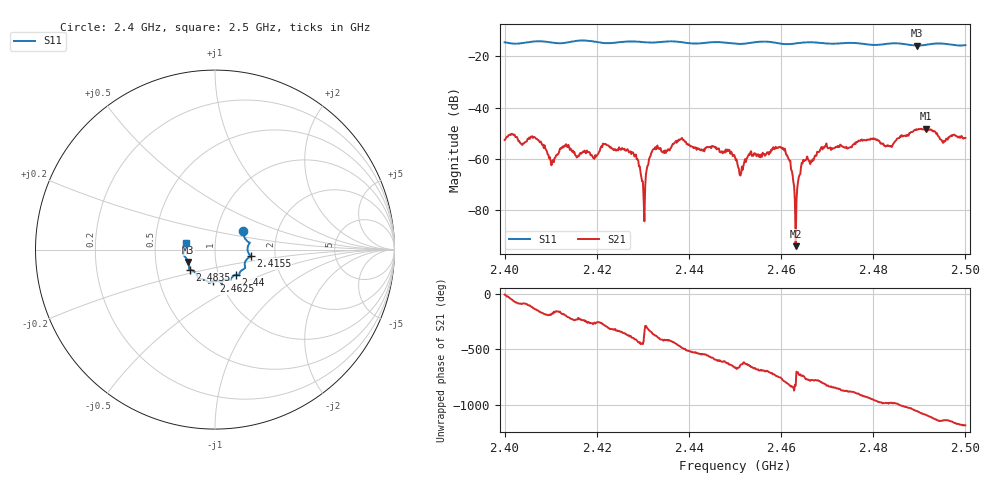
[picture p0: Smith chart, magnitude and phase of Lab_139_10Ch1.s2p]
# Hz S RI R 50
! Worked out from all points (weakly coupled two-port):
!   601 points, 2.4 GHz to 2.5 GHz, reference 50 ohm
!   highest |S21| = -48.23 dB at 2.4915 GHz (marker M1); lowest = -94.1 dB at 2.4632 GHz (marker M2)
!   lowest |S11| = -15.7 dB at 2.4895 GHz (marker M3), VSWR 1.39, Z = 36.8 - j5.16 ohm
!   |S11| at or under -10 dB: start of sweep to end of sweep
!   S12 and S22 are empty: the file has one direction only
!   S11 on the Smith chart (normalised r, x): 2.4 GHz: 1.33, +0.29; 2.4155 GHz: 1.49, -0.11; 2.44 GHz: 1.21, -0.35; 2.4625 GHz: 0.92, -0.34; 2.4835 GHz: 0.74, -0.17; 2.5 GHz: 0.72, +0.05
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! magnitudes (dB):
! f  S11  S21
! 2.4 GHz  -14.5  -52.6
! 2.4102 GHz  -14.6  -62.5
! 2.4155 GHz  -13.9  -58.8
! 2.4167 GHz  -13.8  -58.0
! 2.4272 GHz  -14.1  -57.4
! 2.4302 GHz  -14.4  -75.4
! 2.4318 GHz  -14.6  -57.7
! 2.4333 GHz  -14.4  -56.1
! 2.44 GHz  -14.8  -54.4
! 2.45 GHz  -15.0  -59.4
! 2.4512 GHz  -15.1  -66.6
! 2.46 GHz  -15.0  -55.7
! 2.4625 GHz  -15.0  -66.3
! 2.4632 GHz  -14.9  -94.1
! 2.4648 GHz  -14.6  -60.4
! 2.4667 GHz  -14.4  -61.1
! 2.4693 GHz  -14.8  -55.8
! 2.4833 GHz  -15.0  -55.0
! 2.4835 GHz  -15.0  -55.0
! 2.4895 GHz  -15.7  -48.6
! 2.4915 GHz  -15.4  -48.2
! 2.5 GHz  -15.6  -51.8
